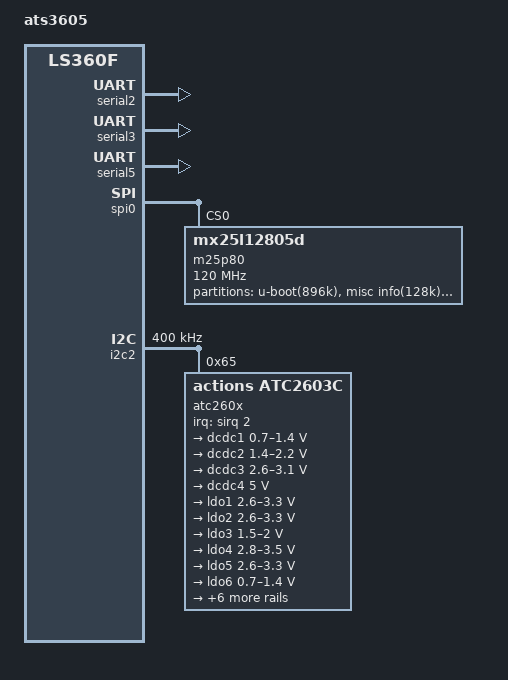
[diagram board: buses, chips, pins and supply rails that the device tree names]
/*
 * Copyright (C) 2014 Actions Semi. Inc
 *
 * This program is free software; you can redistribute it and/or
 * modify it under the terms of the GNU General Public License as
 * published by the Free Software Foundation version 2.
 *
 * This program is distributed "as is" WITHOUT ANY WARRANTY of any
 * kind, whether express or implied; without even the implied warranty
 * of MERCHANTABILITY or FITNESS FOR A PARTICULAR PURPOSE.  See the
 * GNU General Public License for more details.
 */

/dts-v1/;
#include  "ats3605.dtsi"

/ {
	model = "ats3605";
	compatible = "actions,ats3605";

	chosen {
		bootargs="console=ttyS5,115200 earlyprintk no_console_suspend loglevel=7 clk_ignore_unused";
	};

	cpus {
		CPU0: cpu@0 {
			cpuvdd-supply = <&dcdc1>;
		};
	};

	serial2: uart@b0164000 {
		//dmas = <&dma DMA_DRQ_UART2>, <&dma DMA_DRQ_UART2>;
		//dma-names = "tx", "rx";
		status = "okay";
		pinctrl-names = "default";
		//pinctrl-0 = <&serial2_state_default>;
	};

	serial3: uart@b0166000 {
		status = "okay";
	};

	serial5: uart@b016a000 {
		status = "okay";
		//pinctrl-names = "default";
		//pinctrl-0 = <&serial5_state_default>;
	};

	spi0: spi@b0300000 {
		status = "okay";
		pinctrl-names = "default";
		pinctrl-0 = <&spi0_state_default>;
        	dmas = <&dma DMA_DRQ_SPI0>, <&dma DMA_DRQ_SPI0>;
        	dma-names = "tx", "rx";
 		m25p80@0 {
			compatible = "mx25l12805d";
            m25p,fast-read;
			reg = <0>;
			spi-max-frequency = <120000000>;
            spi-tx-bus-width = <1>;
            spi-rx-bus-width = <2>;
            partition@0 {
            	reg = <0x0 0xe0000>;
            	label = "u-boot(896k)";
            };

            partition@e0000 {
            	reg = <0xe0000 0x20000>;
            	label = "misc info(128k)";
            };

            partition@100000 {
            	reg = <0x100000 0xf00000>;
            	label = "others(15360k)";
            };
		};
    };

	i2c2: i2c@b0188000{
		i2c_num = <0>;
		clock-frequency = <400000>;
		status = "okay";
		/* atc2603c (5307) */
		atc260x: atc2603c@65 {
			compatible = "actions,atc2603c";
			reg = <0x65>;
			interrupt-parent = <&sirq>;
			interrupts =< 2 0x4 >;
			interrupt-controller;
			#interrupt-cells = <1>;

			losc_32k_output_enable = <1>;    /* enable/disable output 32.768K clock via I2S_MCLK1 pin */
			losc_32k_output_voltage = <18>;  /* select voltage scale of the 32.768K clock output, 18:1.8v, 31:3.1v */
			board_flag = <1>;
			pm {
				compatible = "actions,atc2603c-pm";
			};

			onoff {
				compatible = "actions,atc2603c-onoff";
			};

			rtc{
				compatible = "actions,atc2603c-rtc";
			};

			atc260x_gpio: atc260x_gpio {
				compatible = "actions,atc2603c-gpio";
				gpio-controller;
				#gpio-cells = <2>;
			};

			atc260x_sgpio: atc260x_sgpio {
				compatible = "actions,atc2603c-sgpio";
				gpio-controller;
				#gpio-cells = <2>;
				interrupt-controller;
				#interrupt-cells = <2>;
			};


			/*the cfg params must be read	in the first installed ko,
			 now snd-soc-atv5302.ko is first installed.
			 1, earphone_detect_level use the third value of earphone_gpios
			 2, commonly, we shouldn't change the value of speaker_gain and earphone_gain*/
			atc260x-hwmon{
				compatible = "actions,atc2603c-hwmon";
			};

		
			dcdc1: dcdc1 {
				compatible = "actions,atc2603c-dcdc1","actions,atc2603c-dcdc";
				regulator-name = "dcdc1";
				regulator-min-microvolt = <700000>;
				regulator-max-microvolt = <1400000>;
				regulator-always-on;
			};

			dcdc2: dcdc2 {
				compatible = "actions,atc2603c-dcdc2","actions,atc2603c-dcdc";
				regulator-name = "dcdc2";
				regulator-min-microvolt = <1400000>;
				regulator-max-microvolt = <2200000>;
				regulator-always-on;
			};

			dcdc3: dcdc3 {
				compatible = "actions,atc2603c-dcdc3","actions,atc2603c-dcdc";
				regulator-name = "dcdc3";
				regulator-min-microvolt = <2600000>;
				regulator-max-microvolt = <3100000>;
			};

			dcdc4: dcdc4 {
				compatible = "actions,atc2603c-dcdc4","actions,atc2603c-dcdc";
				regulator-name = "dcdc4";
				regulator-min-microvolt = <5000000>;
				regulator-max-microvolt = <5000000>;
			};

			dcdc5: dcdc5 {
				status = "disabled";
			};

			ldo1: ldo1{
				compatible = "actions,atc2603c-ldo1","actions,atc2603c-ldo";
				regulator-name = "ldo1";
				regulator-min-microvolt  = <2600000>;
				regulator-max-microvolt = <3300000>;
			};

			ldo2: ldo2{
				compatible = "actions,atc2603c-ldo2","actions,atc2603c-ldo";
				regulator-name = "ldo2";
				regulator-min-microvolt  = <2600000>;
				regulator-max-microvolt = <3300000>;
			};

			ldo3: ldo3{
				compatible = "actions,atc2603c-ldo3","actions,atc2603c-ldo";
				regulator-name = "ldo3";
				regulator-min-microvolt  = <1500000>;
				regulator-max-microvolt = <2000000>;
			};

			ldo4: ldo4{
				compatible = "actions,atc2603c-ldo4","actions,atc2603c-ldo";
				regulator-name = "ldo4";
				regulator-min-microvolt  = <2800000>;
				regulator-max-microvolt = <3500000>;
			};

			ldo5: ldo5{
				compatible = "actions,atc2603c-ldo5","actions,atc2603c-ldo";
				regulator-name = "ldo5";
				regulator-min-microvolt  = <2600000>;
				regulator-max-microvolt = <3300000>;
			};

			ldo6: ldo6{
				compatible = "actions,atc2603c-ldo6","actions,atc2603c-ldo";
				regulator-name = "ldo6";
				regulator-min-microvolt  = <700000>;
				regulator-max-microvolt = <1400000>;
			};

			ldo7: ldo7{
				compatible = "actions,atc2603c-ldo7","actions,atc2603c-ldo";
				regulator-name = "ldo7";
				regulator-min-microvolt  = <1500000>;
				regulator-max-microvolt = <2000000>;
			};

			ldo8: ldo8{
				compatible = "actions,atc2603c-ldo8","actions,atc2603c-ldo";
				regulator-name = "ldo8";
				regulator-min-microvolt  = <2300000>;
				regulator-max-microvolt = <3300000>;
				regulator-boot-on;
			};

			ldo9: ldo9{
				compatible = "actions,atc2603c-ldo9","actions,atc2603c-ldo";
				regulator-name = "ldo9";
				regulator-min-microvolt  = <1000000>;
				regulator-max-microvolt = <1500000>;
			};

			ldo10: ldo10{
				compatible = "actions,atc2603c-ldo10","actions,atc2603c-ldo";
				regulator-name = "ldo10";
				regulator-min-microvolt  = <2300000>;
				regulator-max-microvolt = <3300000>;
			};

			ldo11: ldo11{
				compatible = "actions,atc2603c-ldo11","actions,atc2603c-ldo";
				regulator-name = "ldo11";
				regulator-min-microvolt  = <2600000>;
				regulator-max-microvolt = <3300000>;
			};

			switch1:switch1{
				compatible = "actions,atc2603c-switch1","actions,atc2603c-switch";
				regulator-name = "switch1";
				regulator-min-microvolt  = <3000000>;
				regulator-max-microvolt = <3300000>;
				regulator-always-on;
			};

			switch2:switch2{
				status = "disabled";
			};
		};
	};
	
};
